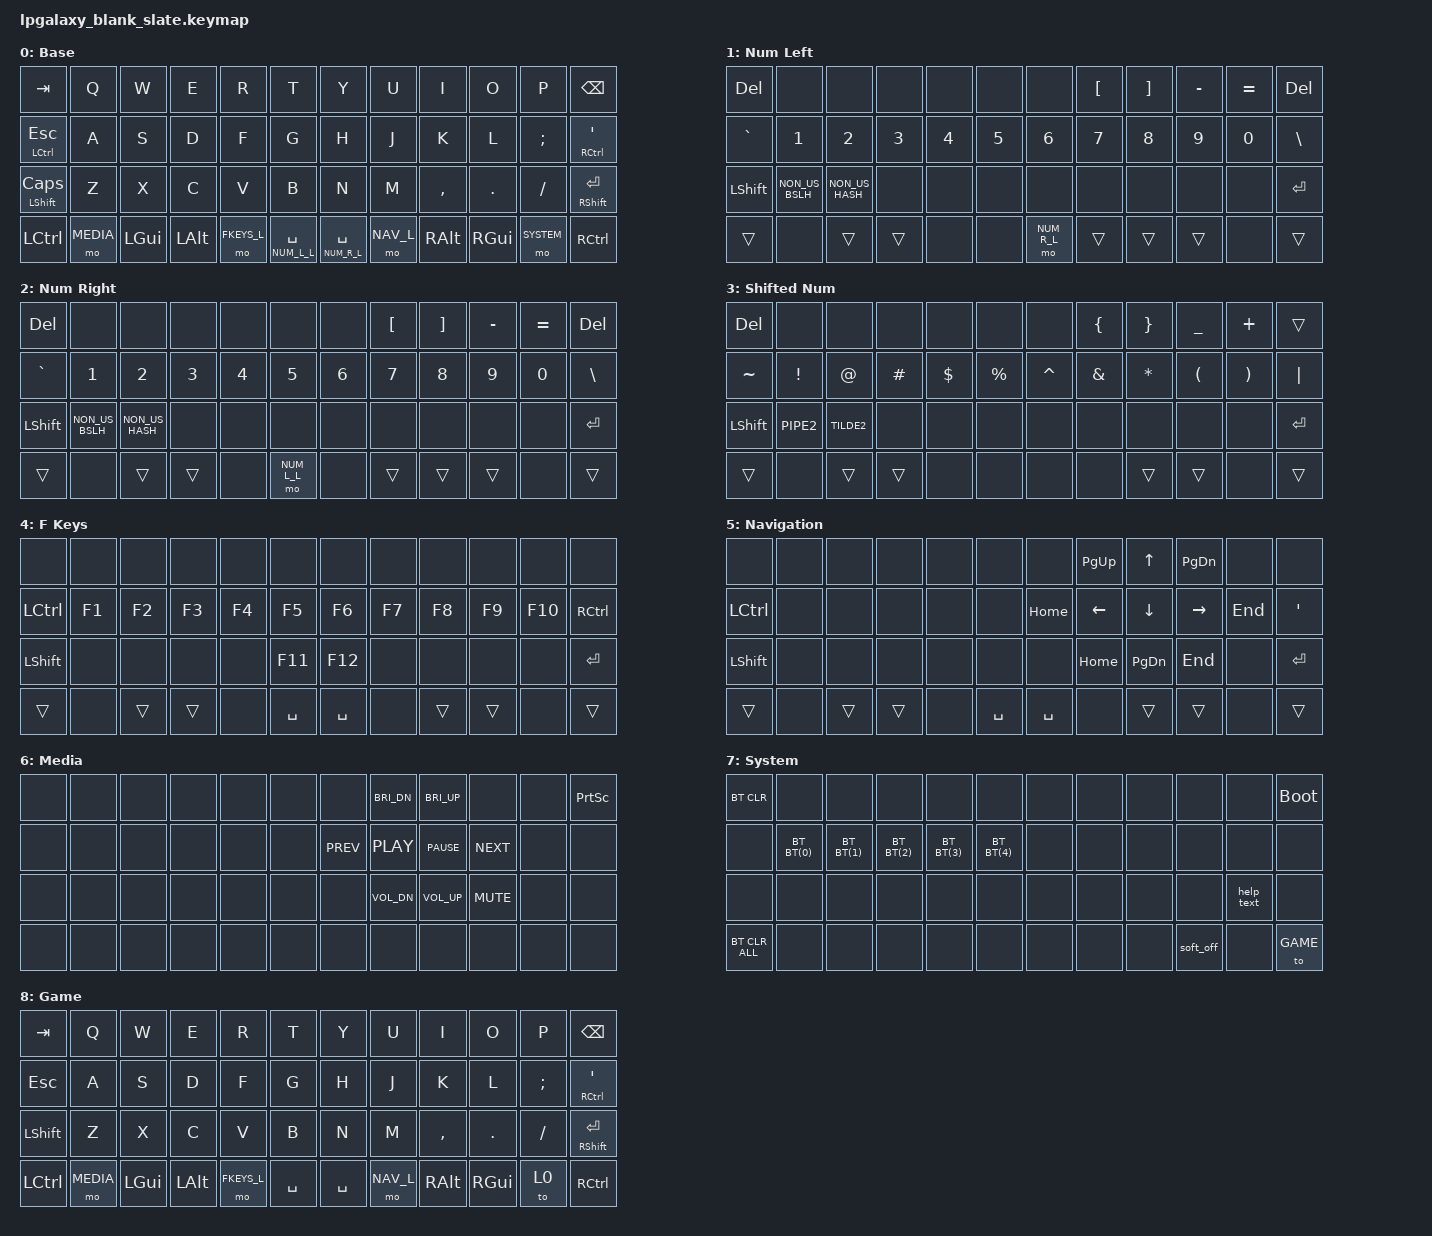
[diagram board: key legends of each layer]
/*
 * Copyright (c) 2022 Pete Johanson
 *
 * SPDX-License-Identifier: MIT
 */

#include <behaviors.dtsi>
#include <dt-bindings/zmk/keys.h>
#include <dt-bindings/zmk/bt.h>
#include <dt-bindings/zmk/outputs.h>

#define NUM_L_L 1
#define NUM_R_L 2
#define NUM_SFT 3
#define FKEYS_L 4
#define NAV_L   5
#define MEDIA   6
#define SYSTEM  7
#define GAME    8


// using layer taps on thumbs, having quick tap as well helps w/ repeating space/backspace
&lt {
    quick_tap_ms = <200>;
};

#define BT(n) BT_SEL n

// tri layer documentation
// https://zmk.dev/docs/features/conditional-layers

/ {
      conditional_layers {
          compatible = "zmk,conditional-layers";
          tri_layer {
              if-layers = <NUM_L_L NUM_R_L>;
              then-layer = <NUM_SFT>;
          };
      };
};

/ {
    macros {
        help_text: help_text {
            compatible = "zmk,behavior-macro";
            #binding-cells = <0>;
            wait-ms = <5>;
            tap-ms = <5>;
            bindings =
                // right FN + BS = bootloader
                // right FN + right CTRL = game mode
                // right FN + <a-g> = bluetooth channel <1-5>
                // right FN + left CTRL = bluetooth clear all
                // right FN + TAB = bluetooth clear current
                <&kp R &kp I &kp G &kp H &kp T &kp SPACE &kp F &kp N &kp SPACE &kp RBKT &kp SPACE &kp B &kp S &kp SPACE &kp LS(N0) &kp SPACE &kp B &kp O &kp O &kp T &kp L &kp O &kp A &kp D &kp E &kp R &kp RET>,
                <&kp R &kp I &kp G &kp H &kp T &kp SPACE &kp F &kp N &kp SPACE &kp RBKT &kp SPACE &kp R &kp I &kp G &kp H &kp T &kp SPACE &kp C &kp T &kp R &kp L &kp SPACE &kp LS(N0) &kp SPACE &kp G &kp A &kp M &kp E &kp SPACE &kp M &kp O &kp D &kp E &kp RET>,
                <&kp R &kp I &kp G &kp H &kp T &kp SPACE &kp F &kp N &kp SPACE &kp RBKT &kp SPACE &kp NON_US_BSLH &kp A &kp FSLH &kp G &kp LS(NON_US_BSLH) &kp SPACE &kp LS(N0) &kp SPACE &kp B &kp L &kp U &kp E &kp T &kp O &kp O &kp T &kp H &kp SPACE &kp C &kp H &kp A &kp N &kp N &kp E &kp L &kp SPACE &kp NON_US_BSLH &kp N1 &kp FSLH &kp N5 &kp LS(NON_US_BSLH) &kp RET>,
                <&kp R &kp I &kp G &kp H &kp T &kp SPACE &kp F &kp N &kp SPACE &kp RBKT &kp SPACE &kp L &kp E &kp F &kp T &kp SPACE &kp C &kp T &kp R &kp L &kp SPACE &kp LS(N0) &kp SPACE &kp B &kp L &kp U &kp E &kp T &kp O &kp O &kp T &kp H &kp SPACE &kp C &kp L &kp E &kp A &kp R &kp SPACE &kp A &kp L &kp L &kp RET>,
                <&kp R &kp I &kp G &kp H &kp T &kp SPACE &kp F &kp N &kp SPACE &kp RBKT &kp SPACE &kp T &kp A &kp B &kp SPACE &kp LS(N0) &kp SPACE &kp B &kp L &kp U &kp E &kp T &kp O &kp O &kp T &kp H &kp SPACE &kp C &kp L &kp E &kp A &kp R &kp SPACE &kp C &kp U &kp R &kp R &kp E &kp N &kp T>;
        };
    };
};


/ {
      keymap {
          compatible = "zmk,keymap";

          base_layer {
              label = "Base";
              bindings = <
&kp TAB          &kp Q      &kp W     &kp E     &kp R        &kp T              &kp Y              &kp U      &kp I      &kp O     &kp P       &kp BKSP
&mt LCTRL ESC    &kp A      &kp S     &kp D     &kp F        &kp G              &kp H              &kp J      &kp K      &kp L     &kp SEMI    &mt RCTRL SINGLE_QUOTE
&mt LSHIFT CAPS  &kp Z      &kp X     &kp C     &kp V        &kp B              &kp N              &kp M      &kp COMMA  &kp DOT   &kp FSLH    &mt RSHIFT RET
&kp LCTRL        &mo MEDIA  &kp LGUI  &kp LALT  &mo FKEYS_L  &lt NUM_L_L SPACE  &lt NUM_R_L SPACE  &mo NAV_L  &kp RALT   &kp RGUI  &mo SYSTEM  &kp RCTRL
              >;
          };

          num_layer_left {
              label = "Num Left";
              bindings = <
&kp DEL    &none           &none           &none   &none   &none   &none        &kp LBKT  &kp RBKT  &kp MINUS  &kp EQUAL  &kp DEL
&kp GRAVE  &kp N1          &kp N2          &kp N3  &kp N4  &kp N5  &kp N6       &kp N7    &kp N8    &kp N9     &kp N0     &kp BSLH
&kp LSHFT  &kp NON_US_BSLH &kp NON_US_HASH &none   &none   &none   &none        &none     &none     &none      &none      &kp RET
&trans     &none           &trans          &trans  &none   &none   &mo NUM_R_L  &trans    &trans    &trans     &none      &trans
              >;
          };

          num_layer_right {
              label = "Num Right";
              bindings = <
&kp DEL   &none           &none           &none   &none   &none       &none  &kp LBKT  &kp RBKT  &kp MINUS  &kp EQUAL  &kp DEL
&kp GRAVE &kp N1          &kp N2          &kp N3  &kp N4  &kp N5      &kp N6 &kp N7    &kp N8    &kp N9     &kp N0     &kp BSLH
&kp LSHFT &kp NON_US_BSLH &kp NON_US_HASH &none   &none   &none       &none  &none     &none     &none      &none      &kp RET
&trans    &none           &trans          &trans  &none   &mo NUM_L_L &none  &trans    &trans    &trans     &none      &trans
              >;
          };

          num_layer_shifted {
              label = "Shifted Num";
              bindings = <
&kp DEL    &none     &none       &none     &none       &none        &none      &kp LBRC  &kp RBRC  &kp UNDER  &kp PLUS  &trans
&kp TILDE  &kp EXCL  &kp AT      &kp HASH  &kp DOLLAR  &kp PERCENT  &kp CARET  &kp AMPS  &kp STAR  &kp LPAR   &kp RPAR  &kp PIPE
&kp LSHFT  &kp PIPE2 &kp TILDE2  &none     &none       &none        &none      &none     &none     &none      &none     &kp RET
&trans     &none     &trans      &trans    &none       &none        &none      &none     &trans    &trans     &none     &trans
              >;
          };

          fkeys_layer {
              label = "F Keys";
              bindings = <
&none      &none   &none   &none   &none   &none      &none      &none   &none   &none   &none    &none
&kp LCTRL  &kp F1  &kp F2  &kp F3  &kp F4  &kp F5     &kp F6     &kp F7  &kp F8  &kp F9  &kp F10  &kp RCTRL
&kp LSHFT  &none   &none   &none   &none   &kp F11    &kp F12    &none   &none   &none   &none    &kp RET
&trans     &none   &trans  &trans  &none   &kp SPACE  &kp SPACE  &none   &trans  &trans  &none    &trans
              >;
          };

          nav_layer {
              label = "Navigation";
              bindings = <
&none      &none  &none   &none   &none  &none      &none      &kp PG_UP  &kp UP     &kp PG_DN  &none    &none
&kp LCTRL  &none  &none   &none   &none  &none      &kp HOME   &kp LEFT   &kp DOWN   &kp RIGHT  &kp END  &kp SINGLE_QUOTE
&kp LSHFT  &none  &none   &none   &none  &none      &none      &kp HOME   &kp PG_DN  &kp END    &none    &kp RET
&trans     &none  &trans  &trans  &none  &kp SPACE  &kp SPACE  &none      &trans     &trans     &none    &trans
              >;
          };

          media_layer {
              label = "Media";
              bindings = <
&none  &none  &none  &none  &none  &none  &none       &kp C_BRI_DN  &kp C_BRI_UP  &none       &none  &kp PRINTSCREEN
&none  &none  &none  &none  &none  &none  &kp C_PREV  &kp C_PLAY    &kp C_PAUSE   &kp C_NEXT  &none  &none
&none  &none  &none  &none  &none  &none  &none       &kp C_VOL_DN  &kp C_VOL_UP  &kp C_MUTE  &none  &none
&none  &none  &none  &none  &none  &none  &none       &none         &none         &none       &none  &none
              >;
          };

          sym_layer {
              label = "System";
              bindings = <
&bt BT_CLR      &none      &none      &none      &none      &none      &none  &none  &none  &none     &none      &bootloader
&none           &bt BT(0)  &bt BT(1)  &bt BT(2)  &bt BT(3)  &bt BT(4)  &none  &none  &none  &none     &none      &none
&none           &none      &none      &none      &none      &none      &none  &none  &none  &none     &help_text &none
&bt BT_CLR_ALL  &none      &none      &none      &none      &none      &none  &none  &none  &soft_off &none      &to GAME
              >;
          };

          game_layer {
              label = "Game";
              bindings = <
&kp TAB     &kp Q      &kp W     &kp E     &kp R        &kp T      &kp Y      &kp U      &kp I      &kp O     &kp P     &kp BKSP
&kp ESC     &kp A      &kp S     &kp D     &kp F        &kp G      &kp H      &kp J      &kp K      &kp L     &kp SEMI  &mt RCTRL SINGLE_QUOTE
&kp LSHIFT  &kp Z      &kp X     &kp C     &kp V        &kp B      &kp N      &kp M      &kp COMMA  &kp DOT   &kp FSLH  &mt RSHIFT RET
&kp LCTRL   &mo MEDIA  &kp LGUI  &kp LALT  &mo FKEYS_L  &kp SPACE  &kp SPACE  &mo NAV_L  &kp RALT   &kp RGUI  &to 0     &kp RCTRL
              >;
          };
      };
};

